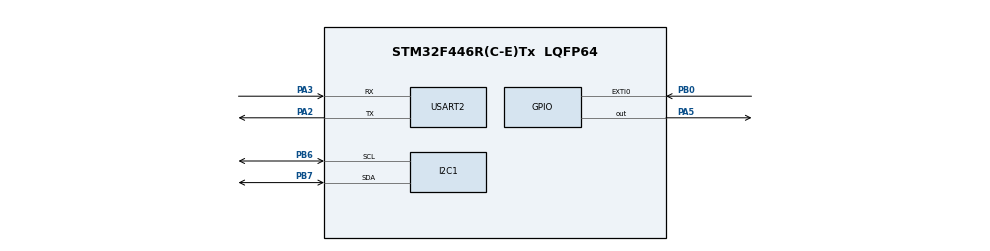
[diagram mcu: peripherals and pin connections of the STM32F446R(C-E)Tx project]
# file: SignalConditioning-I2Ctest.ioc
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Dma.I2C1_RX.0.Direction=DMA_PERIPH_TO_MEMORY
Dma.I2C1_RX.0.FIFOMode=DMA_FIFOMODE_DISABLE
Dma.I2C1_RX.0.Instance=DMA1_Stream0
Dma.I2C1_RX.0.MemDataAlignment=DMA_MDATAALIGN_BYTE
Dma.I2C1_RX.0.MemInc=DMA_MINC_ENABLE
Dma.I2C1_RX.0.Mode=DMA_NORMAL
Dma.I2C1_RX.0.PeriphDataAlignment=DMA_PDATAALIGN_BYTE
Dma.I2C1_RX.0.PeriphInc=DMA_PINC_DISABLE
Dma.I2C1_RX.0.Priority=DMA_PRIORITY_HIGH
Dma.Request0=I2C1_RX
Mcu.Family=STM32F4
Mcu.Name=STM32F446R(C-E)Tx
Mcu.Package=LQFP64
NVIC.DMA1_Stream0_IRQn=true\:0\:0\:false\:false\:true\:false\:true\:true
NVIC.EXTI0_IRQn=true\:0\:0\:false\:false\:true\:true\:true\:true
NVIC.PriorityGroup=NVIC_PRIORITYGROUP_4
PA2.Mode=Asynchronous
PA2.Signal=USART2_TX
PA3.Mode=Asynchronous
PA3.Signal=USART2_RX
PA5.Signal=GPIO_Output
PB0.Signal=GPXTI0
PB6.Mode=I2C
PB6.Signal=I2C1_SCL
PB7.Mode=I2C
PB7.Signal=I2C1_SDA
ProjectManager.HeapSize=0x200
ProjectManager.StackSize=0x400
ProjectManager.TargetToolchain=STM32CubeIDE
RCC.CortexFreq_Value=16000000
RCC.USBFreq_Value=96000000
RCC.VCOOutputFreq_Value=192000000
USART2.VirtualMode=VM_ASYNC
board=custom

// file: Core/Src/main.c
/* USER CODE BEGIN Header */
/**
  ******************************************************************************
  * @file           : main.c
  * @brief          : Main program body
  ******************************************************************************
  * @attention
  *
  * Copyright (c) 2026 STMicroelectronics.
  * All rights reserved.
  *
  * This software is licensed under terms that can be found in the LICENSE file
  * in the root directory of this software component.
  * If no LICENSE file comes with this software, it is provided AS-IS.
  *
  ******************************************************************************
  */
/* USER CODE END Header */
#include "main.h"
#include "dma.h"
#include "i2c.h"
#include "usart.h"
#include "gpio.h"
#include <stdio.h>
#include <math.h>

/* USER CODE BEGIN Includes */
#include "app_inference.h"
/* USER CODE END Includes */

/* USER CODE BEGIN PTD */
typedef struct {
	int16_t raw_x;
	float filtered_x;
} AccelerometerData;

typedef struct {
    int16_t accel_x;
    int16_t accel_y;
    int16_t accel_z;
    int16_t temp;
    int16_t gyro_x;
    int16_t gyro_y;
    int16_t gyro_z;
} IMU_Sample_t;
/* USER CODE END PTD */

/* USER CODE BEGIN PV */
#define SNAPSHOT_SAMPLES 200
#define MPU6050_ADDR (0x68 << 1)
#define MPU6050_REG_DATA_START 0x3B

// The 2-second buffer
volatile IMU_Sample_t imu_buffer[SNAPSHOT_SAMPLES];

// State tracking variables
volatile uint16_t sample_index = 0;
volatile uint8_t snapshot_ready = 0;
volatile uint8_t dma_busy = 0;
volatile uint8_t i2c_crashed = 0;

typedef struct {
    float accel_x;
    float accel_y;
    float accel_z;
    float gyro_x;
    float gyro_y;
    float gyro_z;
} IMU_Physical_t;

// The final 2-second processed buffer
IMU_Physical_t processed_buffer[SNAPSHOT_SAMPLES];

float x_axis_data[SNAPSHOT_SAMPLES];
float y_axis_data[SNAPSHOT_SAMPLES];
float z_axis_data[SNAPSHOT_SAMPLES];

/* USER CODE END PV */

/* USER CODE BEGIN PV */
AccelerometerData sensor_data;
uint8_t dataBuffer[2];
char uart_buffer[50];
/* USER CODE END PV */

void SystemClock_Config(void);

/* USER CODE BEGIN 0 */

float calculate_rms(float *data_array, uint16_t length){
	float sum_of_squares = 0.0f;

	for (uint16_t i = 0; i < length; i++){
		sum_of_squares += (data_array[i] * data_array[i]);
	}

	float mean_of_squares = sum_of_squares / length;

	return sqrtf(mean_of_squares);
}

float apply_ema_filter(int16_t raw_x) {
    float alpha = 0.8f;
    static float previous_ema = 0.0f;
    float current_raw_float = (float)raw_x;
    float filtered_x = (alpha * current_raw_float) + ((1.0f - alpha) * previous_ema);
    previous_ema = filtered_x;
    return filtered_x;
}

int16_t swap_bytes(int16_t val) {
    // Cast to unsigned to prevent sign-extension issues during the shift
    return (int16_t)( ((uint16_t)val << 8) | ((uint16_t)val >> 8) );
}

int _write(int file, char *ptr, int len) {
    HAL_UART_Transmit(&huart2, (uint8_t*)ptr, len, 100);
    return len;
}

/* USER CODE END 0 */

int main(void)
{

  /* MCU Configuration--------------------------------------------------------*/

  /* Reset of all peripherals, Initializes the Flash interface and the Systick. */
  HAL_Init();

  /* Configure the system clock */
  SystemClock_Config();

  /* Initialize all configured peripherals */
  MX_GPIO_Init();
  MX_DMA_Init();
  MX_I2C1_Init();
  MX_USART2_UART_Init();
  /* USER CODE BEGIN 2 */
  // Wake up the MPU6050 by writing 0 to the Power Management register (0x6B)
  // 1. Turn off printf buffering so it sends data instantly!
  	  setvbuf(stdout, NULL, _IONBF, 0);

    // 2. Print a boot message to prove the USB cable and COM port work
  	  printf("STM32 is awake and booting!\r\n");

      uint8_t data;

      // 1. Wake Up the Sensor (PWR_MGMT_1 = 0x00)
      data = 0x00;
      HAL_I2C_Mem_Write(&hi2c1, (0x68 << 1), 0x6B, 1, &data, 1, HAL_MAX_DELAY);

      // 2. Enable the Low-Pass Filter (CONFIG = 0x03)
      data = 0x03;
      HAL_I2C_Mem_Write(&hi2c1, (0x68 << 1), 0x1A, 1, &data, 1, HAL_MAX_DELAY);

      // 3. Set the 100Hz Sample Rate (SMPLRT_DIV = 0x09)  1000 / (1 + 9) = 100
      data = 0x09;
      HAL_I2C_Mem_Write(&hi2c1, (0x68 << 1), 0x19, 1, &data, 1, HAL_MAX_DELAY);

      // 4. Configure the Interrupt Pin (INT_PIN_CFG = 0x00)
      data = 0x10;
      HAL_I2C_Mem_Write(&hi2c1, (0x68 << 1), 0x37, 1, &data, 1, HAL_MAX_DELAY);

      // 5. Enable the Data Ready Interrupt (INT_ENABLE = 0x01)
      data = 0x01;
      HAL_I2C_Mem_Write(&hi2c1, (0x68 << 1), 0x38, 1, &data, 1, HAL_MAX_DELAY);

  /* USER CODE END 2 */

  /* USER CODE BEGIN WHILE */

      // Create a variable to track how many times the loop runs
      uint32_t free_cpu_counter = 0;
      uint32_t last_heartbeat = HAL_GetTick();

              while (1)
              {
                  // 1. Let the main loop spin as fast as it possibly can
                  free_cpu_counter++;

                  if (snapshot_ready) {

                      // 2. Process the 200 samples
                      for (int i = 0; i < SNAPSHOT_SAMPLES; i++) {
                          int16_t raw_ax = swap_bytes(imu_buffer[i].accel_x);
                          int16_t raw_ay = swap_bytes(imu_buffer[i].accel_y);
                          int16_t raw_az = swap_bytes(imu_buffer[i].accel_z);

                          int16_t raw_gx = swap_bytes(imu_buffer[i].gyro_x);
                          int16_t raw_gy = swap_bytes(imu_buffer[i].gyro_y);
                          int16_t raw_gz = swap_bytes(imu_buffer[i].gyro_z);

                          processed_buffer[i].accel_x = raw_ax / 16384.0f;
                          processed_buffer[i].accel_y = raw_ay / 16384.0f;
                          processed_buffer[i].accel_z = raw_az / 16384.0f;

                          processed_buffer[i].gyro_x = raw_gx / 131.0f;
                          processed_buffer[i].gyro_y = raw_gy / 131.0f;
                          processed_buffer[i].gyro_z = raw_gz / 131.0f;
                      }

                      // --- 3. EXTRACT FEATURES (RMS for X, Y, Z) ---

                      // (Deleted the float array declarations from here) Stack Overflow

					  for(int i = 0; i < SNAPSHOT_SAMPLES; i++) {
						  x_axis_data[i] = processed_buffer[i].accel_x;
						  y_axis_data[i] = processed_buffer[i].accel_y;
						  z_axis_data[i] = processed_buffer[i].accel_z;
					  }

					  float x_rms = calculate_rms(x_axis_data, SNAPSHOT_SAMPLES);
					  float y_rms = calculate_rms(y_axis_data, SNAPSHOT_SAMPLES);
					  float z_rms = calculate_rms(z_axis_data, SNAPSHOT_SAMPLES);

					  // Print as a clean CSV row: X, Y, Z
					  printf("%.4f,%.4f,%.4f\r\n", x_rms, y_rms, z_rms);

					  //AI Brain
					  run_ml_inference(x_rms, y_rms, z_rms);

                      // 4. Reset the flag for the next 2-second window
                      snapshot_ready = 0;

                      last_heartbeat = HAL_GetTick();
                  }

                  if (i2c_crashed || (HAL_GetTick() - last_heartbeat > 3000)) {
                	  if (i2c_crashed){
                		  printf("EMI Crash Detected! Recovering...\r\n");
                	  } else {
                		  printf("Sensor Timeout! Rebooting...\r\n");
                	  }

					// 1. Force the I2C bus to un-stick
					HAL_I2C_DeInit(&hi2c1);
					HAL_I2C_Init(&hi2c1);

					// 2. Re-send all configuration bytes to the MPU6050
					uint8_t data;
					data = 0x00; HAL_I2C_Mem_Write(&hi2c1, (0x68 << 1), 0x6B, 1, &data, 1, 100);
					data = 0x03; HAL_I2C_Mem_Write(&hi2c1, (0x68 << 1), 0x1A, 1, &data, 1, 100);
					data = 0x09; HAL_I2C_Mem_Write(&hi2c1, (0x68 << 1), 0x19, 1, &data, 1, 100);
					data = 0x10; HAL_I2C_Mem_Write(&hi2c1, (0x68 << 1), 0x37, 1, &data, 1, 100);
					data = 0x01; HAL_I2C_Mem_Write(&hi2c1, (0x68 << 1), 0x38, 1, &data, 1, 100);

					// 3. Reset our variables and timer
					dma_busy = 0;
					sample_index = 0;
					i2c_crashed = 0;
					last_heartbeat = HAL_GetTick();
              }
          }
     }
 /* USER CODE END WHILE */

void SystemClock_Config(void)
{
  RCC_OscInitTypeDef RCC_OscInitStruct = {0};
  RCC_ClkInitTypeDef RCC_ClkInitStruct = {0};

  /** Configure the main internal regulator output voltage
  */
  __HAL_RCC_PWR_CLK_ENABLE();
  __HAL_PWR_VOLTAGESCALING_CONFIG(PWR_REGULATOR_VOLTAGE_SCALE3);

  /** Initializes the RCC Oscillators according to the specified parameters
  * in the RCC_OscInitTypeDef structure.
  */
  RCC_OscInitStruct.OscillatorType = RCC_OSCILLATORTYPE_HSI;
  RCC_OscInitStruct.HSIState = RCC_HSI_ON;
  RCC_OscInitStruct.HSICalibrationValue = RCC_HSICALIBRATION_DEFAULT;
  RCC_OscInitStruct.PLL.PLLState = RCC_PLL_NONE;
  if (HAL_RCC_OscConfig(&RCC_OscInitStruct) != HAL_OK)
  {
    Error_Handler();
  }

  /** Initializes the CPU, AHB and APB buses clocks
  */
  RCC_ClkInitStruct.ClockType = RCC_CLOCKTYPE_HCLK|RCC_CLOCKTYPE_SYSCLK
                              |RCC_CLOCKTYPE_PCLK1|RCC_CLOCKTYPE_PCLK2;
  RCC_ClkInitStruct.SYSCLKSource = RCC_SYSCLKSOURCE_HSI;
  RCC_ClkInitStruct.AHBCLKDivider = RCC_SYSCLK_DIV1;
  RCC_ClkInitStruct.APB1CLKDivider = RCC_HCLK_DIV1;
  RCC_ClkInitStruct.APB2CLKDivider = RCC_HCLK_DIV1;

  if (HAL_RCC_ClockConfig(&RCC_ClkInitStruct, FLASH_LATENCY_0) != HAL_OK)
  {
    Error_Handler();
  }
}

/* USER CODE BEGIN 4 */
// 1. This fires when the MPU6050 INT pin hits the STM32
void HAL_GPIO_EXTI_Callback(uint16_t GPIO_Pin) {
    if (GPIO_Pin == GPIO_PIN_0) {
        if (!snapshot_ready && !dma_busy) {
            dma_busy = 1;
            if (HAL_I2C_Mem_Read_DMA(&hi2c1, MPU6050_ADDR, MPU6050_REG_DATA_START,
                                     I2C_MEMADD_SIZE_8BIT, (uint8_t*)&imu_buffer[sample_index], 14) != HAL_OK) {
                dma_busy = 0;
            }
        }
    }
}

// 2. This fires automatically when the DMA finishes
void HAL_I2C_MemRxCpltCallback(I2C_HandleTypeDef *hi2c) {
    if (hi2c->Instance == I2C1) {
        dma_busy = 0;
        sample_index++;
        if (sample_index >= SNAPSHOT_SAMPLES) {
            snapshot_ready = 1;
            sample_index = 0;
        }
    }
}

// 3. This fires if EMI crashes the I2C bus
void HAL_I2C_ErrorCallback(I2C_HandleTypeDef *hi2c) {
    if (hi2c->Instance == I2C1) {
        i2c_crashed = 1; // Just set the flag and get out!
    }
}
/* USER CODE END 4 */

void Error_Handler(void)
{
  __disable_irq();
  while (1)
  {
  }
}
